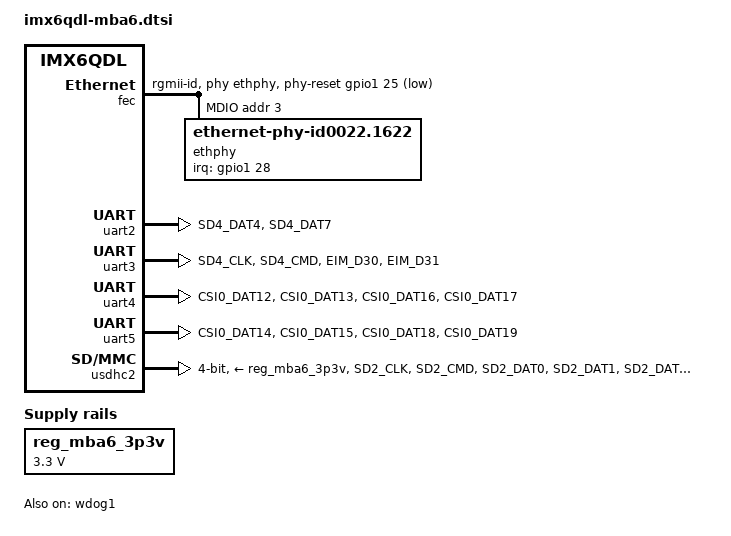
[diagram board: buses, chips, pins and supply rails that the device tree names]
/*
 * Copyright 2013 Sascha Hauer, Pengutronix
 * Copyright 2013-2017 Markus Niebel <Markus.Niebel@tq-group.com>
 *
 * The code contained herein is licensed under the GNU General Public
 * License. You may obtain a copy of the GNU General Public License
 * Version 2 or later at the following locations:
 *
 * http://www.opensource.org/licenses/gpl-license.html
 * http://www.gnu.org/copyleft/gpl.html
 */

/ {
	chosen {
		linux,stdout-path = &uart2;
		stdout-path = &uart2;
	};

	regulators {
		reg_mba6_3p3v: regulator@1 {
			compatible = "regulator-fixed";
			regulator-name = "supply-mba6-3p3v";
			reg = <1>;
			regulator-min-microvolt = <3300000>;
			regulator-max-microvolt = <3300000>;
			regulator-always-on;
		};
	};
};

&fec {
	phy-mode = "rgmii-id";
	phy-reset-gpios = <&gpio1 25 GPIO_ACTIVE_LOW>;
	phy-reset-duration = <1>;
	mac-address = [00 00 00 00 00 00];
	local-mac-address = [00 00 00 00 00 00];
	phy-handle = <&ethphy>;
	status = "okay";

	mdio {
		#address-cells = <1>;
		#size-cells = <0>;

		ethphy: ethernet-phy@3 {
			compatible = "ethernet-phy-id0022.1622",
				     "ethernet-phy-ieee802.3-c22";
			reg = <3>;
			force-master;
			max-speed = <1000>;
			interrupt-parent = <&gpio1>;
			interrupts = <28 IRQ_TYPE_LEVEL_LOW>;
		};
	};
};

&iomuxc {
	pinctrl-names = "default";
	pinctrl-0 = <&pinctrl_hog>;

	mba6 {
		pinctrl_enet: enetgrp {
			fsl,pins = <
				/* FEC phy IRQ */
				MX6QDL_PAD_ENET_TX_EN__GPIO1_IO28     0x00011008
				/* FEC phy reset */
				MX6QDL_PAD_ENET_CRS_DV__GPIO1_IO25   0x1b099
				/* DSE = 100, 100k up, SPEED = MED */
				MX6QDL_PAD_ENET_MDIO__ENET_MDIO       0xb0a0
				MX6QDL_PAD_ENET_MDC__ENET_MDC         0xb0a0
				/* DSE = 111, pull 100k up */
				MX6QDL_PAD_RGMII_TXC__RGMII_TXC       0xb038
				MX6QDL_PAD_RGMII_TD0__RGMII_TD0       0xb038
				MX6QDL_PAD_RGMII_TD1__RGMII_TD1       0xb038
				MX6QDL_PAD_RGMII_TD2__RGMII_TD2       0xb038
				MX6QDL_PAD_RGMII_TD3__RGMII_TD3       0xb038
				MX6QDL_PAD_RGMII_TX_CTL__RGMII_TX_CTL 0xb038
				/* DSE = 111, pull external */
				MX6QDL_PAD_RGMII_RXC__RGMII_RXC       0x0038
				MX6QDL_PAD_RGMII_RD0__RGMII_RD0       0x0038
				MX6QDL_PAD_RGMII_RD1__RGMII_RD1       0x0038
				MX6QDL_PAD_RGMII_RD2__RGMII_RD2       0x0038
				MX6QDL_PAD_RGMII_RD3__RGMII_RD3       0x0038
				MX6QDL_PAD_RGMII_RX_CTL__RGMII_RX_CTL 0x0038
				/* HYS = 1, DSE = 111, 100k up, SPEED = HIGH */
				MX6QDL_PAD_ENET_REF_CLK__ENET_TX_CLK  0x1b0f0
			>;
		};

		pinctrl_hog: hoggrp {
			fsl,pins = <
				MX6QDL_PAD_GPIO_16__GPIO7_IO11 0x0001b099 /* LCD.PWR_EN */
				MX6QDL_PAD_GPIO_7__GPIO1_IO07 0x0001b099 /* LCD.RESET */
				/* LCD.CONTRAST -> Rev 0100 only, not used on Rev.0200*/
				MX6QDL_PAD_DI0_PIN4__GPIO4_IO20 0x0001b099

				MX6QDL_PAD_ENET_RXD1__GPIO1_IO26 0x0001b099
				MX6QDL_PAD_ENET_TXD1__GPIO1_IO29 0x0001b099
				MX6QDL_PAD_ENET_TXD0__GPIO1_IO30 0x0001b099

				MX6QDL_PAD_NANDF_D1__GPIO2_IO01 0x0001b099
				MX6QDL_PAD_NANDF_D2__GPIO2_IO02 0x0001b099
				MX6QDL_PAD_NANDF_D3__GPIO2_IO03 0x0001b099
				MX6QDL_PAD_SD4_DAT0__GPIO2_IO08 0x0001b099
				MX6QDL_PAD_EIM_CS0__GPIO2_IO23 0x0001b099
				MX6QDL_PAD_EIM_CS1__GPIO2_IO24 0x0001b099
				MX6QDL_PAD_EIM_OE__GPIO2_IO25 0x0001b099

				MX6QDL_PAD_EIM_D20__GPIO3_IO20 0x0001b099
				MX6QDL_PAD_EIM_D26__GPIO3_IO26 0x0001b099
				MX6QDL_PAD_EIM_D27__GPIO3_IO27 0x0001b099
				MX6QDL_PAD_EIM_D28__GPIO3_IO28 0x0001b099
				MX6QDL_PAD_EIM_D29__GPIO3_IO29 0x0001b099

				MX6QDL_PAD_KEY_COL0__GPIO4_IO06 0x0001b099
				MX6QDL_PAD_KEY_ROW0__GPIO4_IO07 0x0001b099
				MX6QDL_PAD_KEY_COL1__GPIO4_IO08 0x0001b099
				MX6QDL_PAD_KEY_ROW1__GPIO4_IO09 0x0001b099

				MX6QDL_PAD_CSI0_PIXCLK__GPIO5_IO18 0x0001b099
				MX6QDL_PAD_CSI0_DATA_EN__GPIO5_IO20 0x0001b099
				MX6QDL_PAD_CSI0_VSYNC__GPIO5_IO21 0x0001b099

				MX6QDL_PAD_NANDF_ALE__GPIO6_IO08 0x0001b099
				MX6QDL_PAD_NANDF_CS1__GPIO6_IO14 0x0001b099
			>;
		};

		pinctrl_uart2: uart2grp {
			fsl,pins = <
				MX6QDL_PAD_SD4_DAT4__UART2_RX_DATA 0x1b099
				MX6QDL_PAD_SD4_DAT7__UART2_TX_DATA 0x1b099
			>;
		};

		pinctrl_uart3: uart3grp {
			fsl,pins = <
				MX6QDL_PAD_SD4_CLK__UART3_RX_DATA 0x1b0b1
				MX6QDL_PAD_SD4_CMD__UART3_TX_DATA 0x1b0b1
				MX6QDL_PAD_EIM_D30__UART3_CTS_B   0x1b0b1
				MX6QDL_PAD_EIM_D31__UART3_RTS_B   0x1b0b1
			>;
		};

		pinctrl_uart4: uart4grp {
			fsl,pins = <
				MX6QDL_PAD_CSI0_DAT12__UART4_TX_DATA 0x1b0b1
				MX6QDL_PAD_CSI0_DAT13__UART4_RX_DATA 0x1b0b1
				MX6QDL_PAD_CSI0_DAT16__UART4_RTS_B 0x1b0b1
				MX6QDL_PAD_CSI0_DAT17__UART4_CTS_B 0x1b0b1
			>;
		};

		pinctrl_uart5: uart5grp {
			fsl,pins = <
				MX6QDL_PAD_CSI0_DAT14__UART5_TX_DATA 0x1b0b1
				MX6QDL_PAD_CSI0_DAT15__UART5_RX_DATA 0x1b0b1
				MX6QDL_PAD_CSI0_DAT18__UART5_RTS_B 0x1b0b1
				MX6QDL_PAD_CSI0_DAT19__UART5_CTS_B 0x1b0b1
			>;
		};

		pinctrl_usdhc2: usdhc2grp {
			fsl,pins = <
				/* CLK: 47k Pup SPD_LOW DSE 40Ohm SRE_FAST HYS */
				MX6QDL_PAD_SD2_CLK__SD2_CLK    0x00017071
				/* SD2: 47k Pup SPD_LOW DSE 80Ohm SRE_FAST HYS */
				MX6QDL_PAD_SD2_CMD__SD2_CMD    0x00017059
				MX6QDL_PAD_SD2_DAT0__SD2_DATA0 0x00017059
				MX6QDL_PAD_SD2_DAT1__SD2_DATA1 0x00017059
				MX6QDL_PAD_SD2_DAT2__SD2_DATA2 0x00017059
				MX6QDL_PAD_SD2_DAT3__SD2_DATA3 0x00017059

				MX6QDL_PAD_GPIO_4__GPIO1_IO04  0x0001b099 /* usdhc2 CD */
				MX6QDL_PAD_GPIO_2__GPIO1_IO02  0x0001b099 /* usdhc2 WP */
			>;
		};
	};
};

&snvs_poweroff {
	status = "okay";
};

&snvs_rtc {
	status = "disabled";
};

&uart2 {
	pinctrl-names = "default";
	pinctrl-0 = <&pinctrl_uart2>;
	status = "okay";
};


&uart3 {
	pinctrl-names = "default";
	pinctrl-0 = <&pinctrl_uart3>;
	fsl,uart-has-rtscts;
	status = "okay";
};

&uart4 {
	pinctrl-names = "default";
	pinctrl-0 = <&pinctrl_uart4>;
	fsl,uart-has-rtscts;
	status = "okay";
};

&uart5 {
	pinctrl-names = "default";
	pinctrl-0 = <&pinctrl_uart5>;
	fsl,uart-has-rtscts;
	status = "okay";
};

&usdhc2 { /* Baseboard Slot */
	pinctrl-names = "default";
	pinctrl-0 = <&pinctrl_usdhc2>;
	vmmc-supply = <&reg_mba6_3p3v>;
	bus-width = <4>;
	no-1-8-v;
	cd-gpios = <&gpio1 4 GPIO_ACTIVE_LOW>;
	wp-gpios = <&gpio1 2 GPIO_ACTIVE_HIGH>;
	status = "okay";
};

&wdog1 {
	status = "okay";
};
